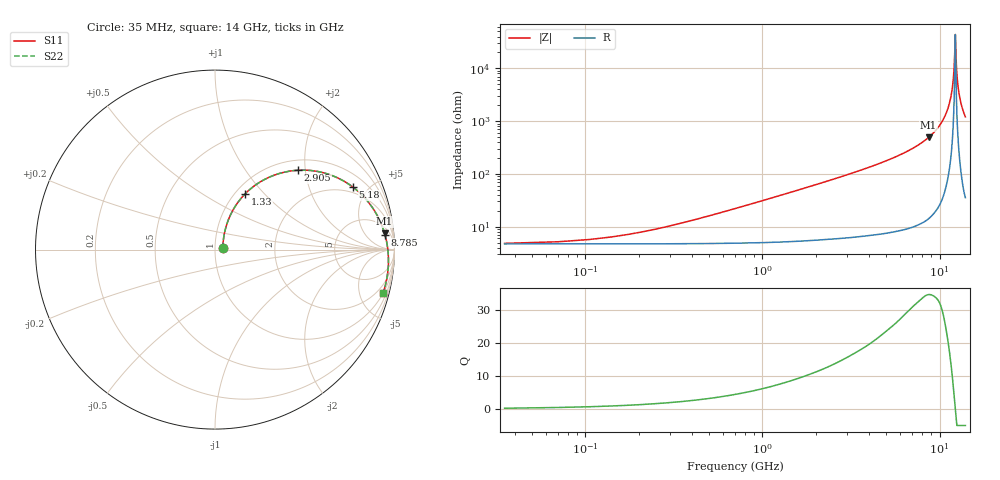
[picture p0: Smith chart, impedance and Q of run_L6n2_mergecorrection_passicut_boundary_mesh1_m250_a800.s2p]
#  Hz  S  RI  R  50
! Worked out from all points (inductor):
!   400 points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, 35 MHz to 14 GHz, reference 50 ohm
!   read as one part in series: L = 4.86 nH near 490 MHz
!   highest Q = 34.7 at 8.68 GHz (marker M1), where L = 9.01 nH
!   self-resonance near 12.25 GHz
!   S11 on the Smith chart (normalised r, x): 35 MHz: 1.09, +0.02; 1.33 GHz: 1.11, +0.78; 2.905 GHz: 1.22, +1.82; 5.18 GHz: 1.64, +3.97; 8.785 GHz: 10, +17; 14 GHz: 1.05, -7.80
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3.5e7  0.0436 0.00914  0.9534 -0.0104  0.9534 -0.0104  0.0436 0.00913
5.6e8  0.0664 0.1435  0.9242 -0.1609  0.9242 -0.1609  0.0664 0.1435
1.33e9  0.1663 0.309  0.8135 -0.3339  0.8135 -0.3339  0.1663 0.3089
2.38e9  0.364 0.4257  0.6135 -0.4599  0.6135 -0.4599  0.3639 0.4256
2.905e9  0.4612 0.4421  0.5149 -0.4815  0.5149 -0.4815  0.4611 0.442
4.69e9  0.718 0.3816  0.2558 -0.4397  0.2558 -0.4397  0.7179 0.3815
5.18e9  0.7672 0.3493  0.206 -0.4126  0.206 -0.4126  0.7672 0.3492
7.035e9  0.8915 0.2119  0.0796 -0.2957  0.0796 -0.2957  0.8914 0.2118
8.68e9  0.9448 0.0908  0.024 -0.1931  0.024 -0.1931  0.9447 0.0907
8.785e9  0.9469 0.0833  0.0217 -0.1868  0.0217 -0.1868  0.9468 0.0832
9.345e9  0.9562 0.0441  0.0116 -0.154  0.0116 -0.154  0.9561 0.044
1.0815e10  0.9664 -0.0534  -0.00107 -0.0732  -0.00107 -0.0732  0.9663 -0.0535
1.169e10  0.9645 -0.108  -0.000806 -0.0288  -0.000806 -0.0288  0.9644 -0.1081
1.204e10  0.9623 -0.1291  0.000686 -0.0117  0.000686 -0.0117  0.9622 -0.1291
1.2145e10  0.9615 -0.1353  0.00129 -0.00665  0.00129 -0.00665  0.9614 -0.1354
1.225e10  0.9607 -0.1415  0.00196 -0.00164  0.00196 -0.00164  0.9606 -0.1416
1.2285e10  0.9604 -0.1436  0.0022 1.99e-05  0.0022 1.94e-05  0.9603 -0.1436
1.239e10  0.9594 -0.1497  0.00296 0.00497  0.00296 0.00497  0.9593 -0.1498
1.246e10  0.9588 -0.1538  0.00351 0.00824  0.00351 0.00824  0.9587 -0.1539
1.274e10  0.9558 -0.17  0.00593 0.0212  0.00593 0.0212  0.9557 -0.1701
1.323e10  0.9495 -0.1979  0.0111 0.0431  0.0111 0.0431  0.9494 -0.198
1.4e10  0.9371 -0.2397  0.0216 0.0763  0.0216 0.0763  0.937 -0.2398
